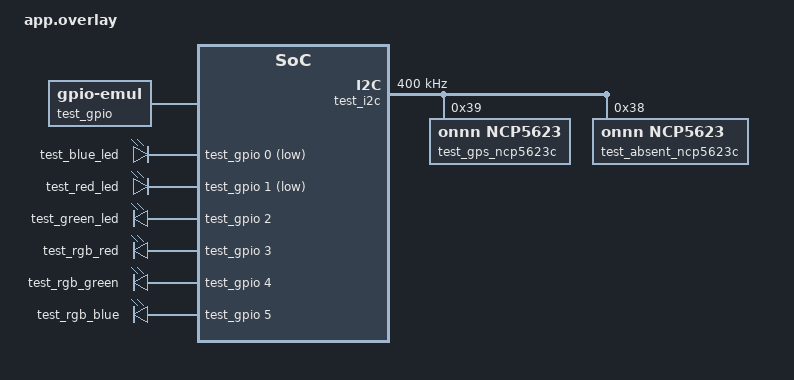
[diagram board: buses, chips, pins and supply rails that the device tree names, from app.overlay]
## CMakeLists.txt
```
############################################################################
#
#   Copyright (c) 2026 PX4 Development Team. All rights reserved.
#
# Redistribution and use in source and binary forms, with or without
# modification, are permitted provided that the following conditions
# are met:
#
# 1. Redistributions of source code must retain the above copyright
#    notice, this list of conditions and the following disclaimer.
# 2. Redistributions in binary form must reproduce the above copyright
#    notice, this list of conditions and the following disclaimer in
#    the documentation and/or other materials provided with the
#    distribution.
# 3. Neither the name PX4 nor the names of its contributors may be
#    used to endorse or promote products derived from this software
#    without specific prior written permission.
#
# THIS SOFTWARE IS PROVIDED BY THE COPYRIGHT HOLDERS AND CONTRIBUTORS
# "AS IS" AND ANY EXPRESS OR IMPLIED WARRANTIES, INCLUDING, BUT NOT
# LIMITED TO, THE IMPLIED WARRANTIES OF MERCHANTABILITY AND FITNESS
# FOR A PARTICULAR PURPOSE ARE DISCLAIMED. IN NO EVENT SHALL THE
# COPYRIGHT OWNER OR CONTRIBUTORS BE LIABLE FOR ANY DIRECT, INDIRECT,
# INCIDENTAL, SPECIAL, EXEMPLARY, OR CONSEQUENTIAL DAMAGES (INCLUDING,
# BUT NOT LIMITED TO, PROCUREMENT OF SUBSTITUTE GOODS OR SERVICES; LOSS
# OF USE, DATA, OR PROFITS; OR BUSINESS INTERRUPTION) HOWEVER CAUSED
# AND ON ANY THEORY OF LIABILITY, WHETHER IN CONTRACT, STRICT
# LIABILITY, OR TORT (INCLUDING NEGLIGENCE OR OTHERWISE) ARISING IN
# ANY WAY OUT OF THE USE OF THIS SOFTWARE, EVEN IF ADVISED OF THE
# POSSIBILITY OF SUCH DAMAGE.
#
############################################################################

cmake_minimum_required(VERSION 3.20.0)

find_package(Zephyr REQUIRED HINTS $ENV{ZEPHYR_BASE})
project(px4_leds_test)

target_sources(app PRIVATE
	src/main.cpp
	src/led_record.c
	src/ncp5623_emul.c
)
target_link_libraries(app PRIVATE px4_interface)
```

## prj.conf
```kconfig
CONFIG_ZTEST=y
CONFIG_ZTEST_STACK_SIZE=4096
CONFIG_PX4=y
CONFIG_PX4_BOARD_CONFIG="zephyr_generic_leds"
CONFIG_EMUL=y
```

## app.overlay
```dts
#include <zephyr/dt-bindings/gpio/gpio.h>
#include <zephyr/dt-bindings/led/led.h>

/ {
	test_gpio: gpio-emul {
		compatible = "zephyr,gpio-emul";
		gpio-controller;
		#gpio-cells = <2>;
	};

	gpio-leds {
		compatible = "gpio-leds";

		/* the board LEDs of the VMU RT1170, active low, but for the green one */
		test_blue_led: blue {
			gpios = <&test_gpio 0 GPIO_ACTIVE_LOW>;
		};

		test_red_led: red {
			gpios = <&test_gpio 1 GPIO_ACTIVE_LOW>;
		};

		test_green_led: green {
			gpios = <&test_gpio 2 GPIO_ACTIVE_HIGH>;
		};

		test_rgb_red: rgb-red {
			gpios = <&test_gpio 3 GPIO_ACTIVE_HIGH>;
		};

		test_rgb_green: rgb-green {
			gpios = <&test_gpio 4 GPIO_ACTIVE_HIGH>;
		};

		test_rgb_blue: rgb-blue {
			gpios = <&test_gpio 5 GPIO_ACTIVE_HIGH>;
		};
	};

	/* an RGB LED of single-color LEDs */
	test_rgb_group: rgb-led {
		compatible = "leds-group-multicolor";
		leds = <&test_rgb_red>, <&test_rgb_green>, <&test_rgb_blue>;
		color-mapping = <LED_COLOR_ID_RED>, <LED_COLOR_ID_GREEN>, <LED_COLOR_ID_BLUE>;
	};

	/* an RGB LED whose channels are in another order, with a white one */
	test_fake_leds: fake-leds {
		compatible = "zephyr,fake-leds";

		test_fake_rgb: rgb {
			color-mapping = <LED_COLOR_ID_BLUE>, <LED_COLOR_ID_RED>, <LED_COLOR_ID_GREEN>,
					<LED_COLOR_ID_WHITE>;
		};
	};

	test_i2c: i2c@b0000100 {
		compatible = "zephyr,i2c-emul-controller";
		reg = <0xb0000100 0x100>;
		clock-frequency = <400000>;
		#address-cells = <1>;
		#size-cells = <0>;

		/* the LED of a GPS module, emulated by the test */
		test_gps_ncp5623c: ncp5623c@39 {
			compatible = "onnn,ncp5623";
			reg = <0x39>;
			zephyr,deferred-init;

			test_gps_led: led_0 {
				label = "GPS LED";
				index = <0>;
				color-mapping = <LED_COLOR_ID_RED>, <LED_COLOR_ID_GREEN>, <LED_COLOR_ID_BLUE>;
			};
		};

		/* the LED of a GPS module that isn't connected */
		test_absent_ncp5623c: ncp5623c@38 {
			compatible = "onnn,ncp5623";
			reg = <0x38>;
			zephyr,deferred-init;

			test_absent_led: led_0 {
				label = "Absent LED";
				index = <0>;
				color-mapping = <LED_COLOR_ID_RED>, <LED_COLOR_ID_GREEN>, <LED_COLOR_ID_BLUE>;
			};
		};
	};

	px4-leds {
		compatible = "px4,leds";
		blue = <&test_blue_led>;
		red = <&test_red_led>;
		green = <&test_green_led>;
		rgb = <&test_fake_rgb>, <&test_rgb_group>, <&test_gps_led>, <&test_absent_led>;
	};
};
```

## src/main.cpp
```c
/****************************************************************************
 *
 *   Copyright (c) 2026 PX4 Development Team. All rights reserved.
 *
 * Redistribution and use in source and binary forms, with or without
 * modification, are permitted provided that the following conditions
 * are met:
 *
 * 1. Redistributions of source code must retain the above copyright
 *    notice, this list of conditions and the following disclaimer.
 * 2. Redistributions in binary form must reproduce the above copyright
 *    notice, this list of conditions and the following disclaimer in
 *    the documentation and/or other materials provided with the
 *    distribution.
 * 3. Neither the name PX4 nor the names of its contributors may be
 *    used to endorse or promote products derived from this software
 *    without specific prior written permission.
 *
 * THIS SOFTWARE IS PROVIDED BY THE COPYRIGHT HOLDERS AND CONTRIBUTORS
 * "AS IS" AND ANY EXPRESS OR IMPLIED WARRANTIES, INCLUDING, BUT NOT
 * LIMITED TO, THE IMPLIED WARRANTIES OF MERCHANTABILITY AND FITNESS
 * FOR A PARTICULAR PURPOSE ARE DISCLAIMED. IN NO EVENT SHALL THE
 * COPYRIGHT OWNER OR CONTRIBUTORS BE LIABLE FOR ANY DIRECT, INDIRECT,
 * INCIDENTAL, SPECIAL, EXEMPLARY, OR CONSEQUENTIAL DAMAGES (INCLUDING,
 * BUT NOT LIMITED TO, PROCUREMENT OF SUBSTITUTE GOODS OR SERVICES; LOSS
 * OF USE, DATA, OR PROFITS; OR BUSINESS INTERRUPTION) HOWEVER CAUSED
 * AND ON ANY THEORY OF LIABILITY, WHETHER IN CONTRACT, STRICT
 * LIABILITY, OR TORT (INCLUDING NEGLIGENCE OR OTHERWISE) ARISING IN
 * ANY WAY OUT OF THE USE OF THIS SOFTWARE, EVEN IF ADVISED OF THE
 * POSSIBILITY OF SUCH DAMAGE.
 *
 ****************************************************************************/


#include "led_record.h"

#include <drivers/drv_board_led.h>
#include <drivers/drv_hrt.h>
#include <parameters/param.h>
#include <px4_platform_common/posix.h>
#include <px4_platform_common/px4_config.h>
#include <px4_zephyr.h>
#include <uORB/Publication.hpp>
#include <uORB/topics/led_control.h>

#include <fcntl.h>
#include <stdio.h>
#include <string.h>

#include <zephyr/ztest.h>

#if !defined(BOARD_HAS_CONTROL_STATUS_LEDS) || (BOARD_ARMED_STATE_LED != LED_BLUE) || (BOARD_OVERLOAD_LED != LED_RED)
#error "the generic board has the armed state and overload LEDs of most flight controllers"
#endif

// the timing of the LED controller of PX4 (lib/led/led.h): the fast blinks change every 100 ms, and the breathing
// brightness every 25 ms, in 64 steps, from (0 / 32)^2 to (32 / 32)^2 and back
static constexpr uint32_t BLINK_FAST_US{100000};
static constexpr uint32_t BREATHE_INTERVAL_US{25000};
static constexpr int BREATHE_STEPS{64};

// the update interval of the driver, while no LED breathes
static constexpr uint32_t UPDATE_US{BLINK_FAST_US};

// the latency of the work queue
static constexpr uint32_t LATENCY_US{2000};

// time for the driver to start, and to show a new state
static constexpr uint32_t RESPONSE_US{2 * UPDATE_US + 50000};

static constexpr uint8_t FULL{255};

struct color {
	const char *name;
	uint8_t red;
	uint8_t green;
	uint8_t blue;
};

static uORB::Publication<led_control_s> led_control_pub{ORB_ID(led_control)};

// the board LEDs once PX4 has started, and the LED of the GPS module before the driver initializes it
static bool started_lit[3];
static bool gps_led_ready_at_boot;

static int run(const char *command)
{
	char buffer[64];
	strncpy(buffer, command, sizeof(buffer) - 1);
	buffer[sizeof(buffer) - 1] = '\0';

	char *argv[10] {};
	int argc = 0;
	char *saveptr = nullptr;

	for (char *token = strtok_r(buffer, " ", &saveptr); token != nullptr && argc < 10;
	     token = strtok_r(nullptr, " ", &saveptr)) {
		argv[argc++] = token;
	}

	return px4_zephyr_run_command(argc, argv);
}

static void *setup(void)
{
	static bool initialized = false;

	if (!initialized) {
		initialized = true;
		gps_led_ready_at_boot = test_gps_led_ready();

		// as a bootloader could leave it
		test_led_set(TEST_LED_BLUE, true);

		zassert_ok(px4_zephyr_init());

		started_lit[0] = test_led_lit(TEST_LED_BLUE);
		started_lit[1] = test_led_lit(TEST_LED_RED);
		started_lit[2] = test_led_lit(TEST_LED_GREEN);
	}

	return nullptr;
}

// the board LEDs of /dev/led0, as Commander opens it
static int fd_leds{-1};

// as in commander_helper.cpp, for the board_common.h macros
static int led_on(int led)
{
	return px4_ioctl(fd_leds, LED_ON, led);
}

static int led_off(int led)
{
	return px4_ioctl(fd_leds, LED_OFF, led);
}

static int led_toggle(int led)
{
	return px4_ioctl(fd_leds, LED_TOGGLE, led);
}

static void check_board_leds(bool blue, bool red, bool green)
{
	zassert_equal(test_led_lit(TEST_LED_BLUE), blue, "blue LED %s", blue ? "off" : "on");
	zassert_equal(test_led_lit(TEST_LED_RED), red, "red LED %s", red ? "off" : "on");
	zassert_equal(test_led_lit(TEST_LED_GREEN), green, "green LED %s", green ? "off" : "on");
}

static void board_before(void *fixture)
{
	fd_leds = px4_open(LED0_DEVICE_PATH, O_RDWR);
	zassert_true(fd_leds >= 0, "no %s", LED0_DEVICE_PATH);

	zassert_ok(led_off(LED_BLUE));
	zassert_ok(led_off(LED_RED));
	zassert_ok(led_off(LED_GREEN));
}

static void board_after(void *fixture)
{
	px4_close(fd_leds);
	fd_leds = -1;
}

ZTEST(px4_board_leds, test_start)
{
	// PX4 turns the board LEDs off when it starts
	zassert_false(started_lit[0] || started_lit[1] || started_lit[2], "board LED on");
}

ZTEST(px4_board_leds, test_on_off)
{
	zassert_ok(led_on(LED_BLUE));
	check_board_leds(true, false, false);

	// active low
	zassert_equal(test_led_level(TEST_LED_BLUE), 0);

	zassert_ok(led_off(LED_BLUE));
	check_board_leds(false, false, false);
	zassert_equal(test_led_level(TEST_LED_BLUE), 1);

	zassert_ok(led_on(LED_AMBER));
	check_board_leds(false, true, false);

	zassert_ok(led_on(LED_GREEN));
	check_board_leds(false, true, true);

	// active high
	zassert_equal(test_led_level(TEST_LED_GREEN), 1);

	zassert_ok(led_off(LED_RED));
	zassert_ok(led_off(LED_GREEN));
	check_board_leds(false, false, false);
}

ZTEST(px4_board_leds, test_toggle)
{
	zassert_ok(led_toggle(LED_GREEN));
	check_board_leds(false, false, true);

	zassert_ok(led_toggle(LED_GREEN));
	check_board_leds(false, false, false);

	zassert_ok(led_on(LED_RED));
	zassert_ok(led_toggle(LED_RED));
	check_board_leds(false, false, false);
}

ZTEST(px4_board_leds, test_missing_led)
{
	// the board has no safety LED
	zassert_ok(led_on(LED_SAFETY));
	zassert_ok(led_toggle(LED_SAFETY));
	check_board_leds(false, false, false);
}

ZTEST(px4_board_leds, test_commander)
{
	// led_init() of Commander, which leaves the green LED on
	zassert_ok(led_on(LED_GREEN));
	zassert_ok(led_on(LED_BLUE));
	zassert_ok(led_off(LED_BLUE));
	zassert_ok(led_on(LED_AMBER));
	zassert_ok(led_off(LED_AMBER));
	check_board_leds(false, false, true);

	// not ready to arm or ready to arm: the armed state LED blinks
	for (int i = 0; i < 4; i++) {
		BOARD_ARMED_STATE_LED_TOGGLE();
		check_board_leds(i % 2 == 0, false, true);
	}

	BOARD_ARMED_STATE_LED_TOGGLE();
	check_board_leds(true, false, true);

	// armed
	BOARD_ARMED_STATE_LED_OFF();
	check_board_leds(false, false, true);

	// overload
	BOARD_OVERLOAD_LED_TOGGLE();
	check_board_leds(false, true, true);

	BOARD_OVERLOAD_LED_OFF();
	check_board_leds(false, false, true);
}

ZTEST_SUITE(px4_board_leds, NULL, setup, board_before, board_after, NULL);

// as Commander publishes the system status
static void publish_status(uint8_t color, uint8_t mode)
{
	led_control_s led_control{};
	led_control.led_mask = 0xff;
	led_control.color = color;
	led_control.mode = mode;
	led_control.priority = 0;
	led_control.timestamp = hrt_absolute_time();
	led_control_pub.publish(led_control);
}

// the colors set on the fake RGB LED, too many for the stack of the test
static led_event events[LED_RECORD_MAX_EVENTS];

static size_t get_events()
{
	const size_t count = led_record_get(events, LED_RECORD_MAX_EVENTS);
	zassert_true(count <= LED_RECORD_MAX_EVENTS, "%zu events", count);
	return count;
}

static bool is_color(const led_event &event, uint8_t red, uint8_t green, uint8_t blue)
{
	return (event.red == red) && (event.green == green) && (event.blue == blue) && (event.white == 0);
}

// the 32 PWM steps of the NCP5623C
static uint8_t ncp5623_pwm(uint8_t value)
{
	return value / 8;
}

// check the color of the fake RGB LED, of the RGB LED of GPIO LEDs and of the LED of the GPS module
static void check_color(uint8_t red, uint8_t green, uint8_t blue)
{
	const size_t count = get_events();
	zassert_true(count > 0, "no color set");

	const led_event &last = events[count - 1];
	zassert_true(is_color(last, red, green, blue), "%u %u %u %u instead of %u %u %u 0",
		     last.red, last.green, last.blue, last.white, red, green, blue);

	zassert_equal(test_led_lit(TEST_LED_RGB_RED), red > 0);
	zassert_equal(test_led_lit(TEST_LED_RGB_GREEN), green > 0);
	zassert_equal(test_led_lit(TEST_LED_RGB_BLUE), blue > 0);

	zassert_equal(test_gps_led_register(NCP5623_PWM1), ncp5623_pwm(red));
	zassert_equal(test_gps_led_register(NCP5623_PWM2), ncp5623_pwm(green));
	zassert_equal(test_gps_led_register(NCP5623_PWM3), ncp5623_pwm(blue));
}

static void rgb_before(void *fixture)
{
	// the driver shows the last led_control message when it starts
	publish_status(led_control_s::COLOR_OFF, led_control_s::MODE_OFF);

	zassert_ok(run("zephyr_rgbled start"));
	k_sleep(K_USEC(RESPONSE_US));

	led_record_start();
}

static void rgb_after(void *fixture)
{
	run("zephyr_rgbled stop");
	param_reset(param_find("SYS_RGB_MAXBRT"));
}

ZTEST(px4_rgb_leds, test_start)
{
	// the driver initializes the LED of the GPS module, and leaves out the one that doesn't respond
	zassert_false(gps_led_ready_at_boot);
	zassert_true(test_gps_led_ready());
	zassert_false(test_absent_led_ready());

	// the LEDs are off, the GPS module one at its maximum current
	zassert_false(test_led_lit(TEST_LED_RGB_RED) || test_led_lit(TEST_LED_RGB_GREEN) || test_led_lit(TEST_LED_RGB_BLUE));
	zassert_equal(test_gps_led_register(NCP5623_CURRENT), 31);
	zassert_equal(test_gps_led_register(NCP5623_PWM1), 0);
	zassert_equal(test_gps_led_register(NCP5623_PWM2), 0);
	zassert_equal(test_gps_led_register(NCP5623_PWM3), 0);

	zassert_ok(run("zephyr_rgbled status"));
}

ZTEST(px4_rgb_leds, test_colors)
{
	// amber is yellow, as with the other RGB LED drivers
	static const color colors[] {
		{"red", FULL, 0, 0},
		{"green", 0, FULL, 0},
		{"blue", 0, 0, FULL},
		{"yellow", FULL, FULL, 0},
		{"amber", FULL, FULL, 0},
		{"purple", FULL, 0, FULL},
		{"cyan", 0, FULL, FULL},
		{"white", FULL, FULL, FULL},
	};

	for (const color &c : colors) {
		char command[32];
		snprintf(command, sizeof(command), "led_control on -c %s", c.name);
		zassert_ok(run(command));
		k_sleep(K_USEC(RESPONSE_US));
		check_color(c.red, c.green, c.blue);
	}

	zassert_ok(run("led_control off"));
	k_sleep(K_USEC(RESPONSE_US));
	check_color(0, 0, 0);
}

ZTEST(px4_rgb_leds, test_blink)
{
	constexpr unsigned BLINKS = 3;
	zassert_ok(run("led_control blink -c green -s fast -n 3"));
	k_sleep(K_USEC(2 * (BLINKS + 1) * BLINK_FAST_US + RESPONSE_US));

	const size_t count = get_events();
	zassert_equal(count, 2 * BLINKS, "%zu colors set", count);

	for (size_t i = 0; i < count; i++) {
		const bool on = (i % 2) == 0;
		zassert_true(is_color(events[i], 0, on ? FULL : 0, 0), "color %zu", i);

		if (i > 0) {
			// the controller changes the color at its first update after half a period
			const uint32_t interval_us = events[i].time_us - events[i - 1].time_us;
			const uint32_t min_us = BLINK_FAST_US - LATENCY_US;
			const uint32_t max_us = ((i == 1) ? 2 : 1) * BLINK_FAST_US + LATENCY_US;
			zassert_between_inclusive(interval_us, min_us, max_us, "color %zu after %u us", i, interval_us);
		}
	}

	// back to the color of the lower priority
	check_color(0, 0, 0);
}

ZTEST(px4_rgb_leds, test_breathe)
{
	constexpr uint32_t BREATHE_PERIOD_US = BREATHE_INTERVAL_US * BREATHE_STEPS;
	constexpr int MAX_STEP = BREATHE_STEPS / 2;

	zassert_ok(run("led_control breathe -c blue"));
	k_sleep(K_USEC(2 * BREATHE_PERIOD_US + RESPONSE_US));

	const size_t count = get_events();
	zassert_true(count > 2 * MAX_STEP, "%zu colors set", count);

	// the brightness of the controller, (step / 32)^2, and the times it rises above half of it
	uint8_t max_blue = 0;
	uint64_t half_times_us[3] {};
	size_t half_count = 0;

	for (size_t i = 0; i < count; i++) {
		zassert_true(is_color(events[i], 0, 0, events[i].blue), "color %zu", i);

		bool on_curve = false;

		for (int step = 0; step <= MAX_STEP; step++) {
			on_curve = on_curve || (events[i].blue == (step * step * FULL) / (MAX_STEP * MAX_STEP));
		}

		zassert_true(on_curve, "brightness %u", events[i].blue);

		if (events[i].blue > max_blue) {
			max_blue = events[i].blue;
		}

		if ((i > 0) && (events[i - 1].blue < FULL / 2) && (events[i].blue >= FULL / 2) && (half_count < 3)) {
			half_times_us[half_count++] = events[i].time_us;
		}
	}

	// the brightest step, or the one before if an update was late
	constexpr uint8_t ALMOST_FULL = ((MAX_STEP - 1) * (MAX_STEP - 1) * FULL) / (MAX_STEP * MAX_STEP);
	zassert_true(max_blue >= ALMOST_FULL, "brightest %u", max_blue);

	zassert_true(half_count >= 2, "%zu rises", half_count);
	const uint32_t period_us = half_times_us[1] - half_times_us[0];
	zassert_between_inclusive(period_us, BREATHE_PERIOD_US - BREATHE_INTERVAL_US - LATENCY_US,
				  BREATHE_PERIOD_US + BREATHE_INTERVAL_US + LATENCY_US, "period of %u us", period_us);
}

ZTEST(px4_rgb_leds, test_max_brightness)
{
	zassert_ok(run("zephyr_rgbled stop"));
	const float max_brightness = 0.5f;
	zassert_ok(param_set(param_find("SYS_RGB_MAXBRT"), &max_brightness));
	zassert_ok(run("zephyr_rgbled start"));
	k_sleep(K_USEC(RESPONSE_US));

	zassert_ok(run("led_control on -c white"));
	k_sleep(K_USEC(RESPONSE_US));
	check_color(128, 128, 128);
}

ZTEST(px4_rgb_leds, test_commander)
{
	// disarmed and ready to arm, with a global position
	publish_status(led_control_s::COLOR_GREEN, led_control_s::MODE_BREATHE);
	k_sleep(K_USEC(BREATHE_INTERVAL_US * BREATHE_STEPS));

	size_t count = get_events();
	zassert_true(count > 2);

	for (size_t i = 0; i < count; i++) {
		zassert_true(is_color(events[i], 0, events[i].green, 0), "color %zu", i);
	}

	// armed
	publish_status(led_control_s::COLOR_GREEN, led_control_s::MODE_ON);
	k_sleep(K_USEC(RESPONSE_US));
	check_color(0, FULL, 0);

	// failsafe
	publish_status(led_control_s::COLOR_PURPLE, led_control_s::MODE_ON);
	k_sleep(K_USEC(RESPONSE_US));
	check_color(FULL, 0, FULL);

	// a blink of a higher priority, after which the LED is back to the failsafe color
	led_record_start();
	zassert_ok(run("led_control blink -c yellow -s fast -n 1"));
	k_sleep(K_USEC(4 * BLINK_FAST_US + RESPONSE_US));

	count = get_events();
	zassert_equal(count, 3, "%zu colors set", count);
	zassert_true(is_color(events[0], FULL, FULL, 0));
	zassert_true(is_color(events[1], 0, 0, 0));
	check_color(FULL, 0, FULL);
}

ZTEST(px4_rgb_leds, test_stop)
{
	zassert_ok(run("led_control on -c red"));
	k_sleep(K_USEC(RESPONSE_US));
	check_color(FULL, 0, 0);

	// the LEDs are turned off right away
	const hrt_abstime stop_time = hrt_absolute_time();
	zassert_ok(run("zephyr_rgbled stop"));
	zassert_true(hrt_elapsed_time(&stop_time) < UPDATE_US / 2, "stopped in %u us",
		     (uint32_t)hrt_elapsed_time(&stop_time));
	check_color(0, 0, 0);
}

ZTEST_SUITE(px4_rgb_leds, NULL, setup, rgb_before, rgb_after, NULL);
```

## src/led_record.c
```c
/****************************************************************************
 *
 *   Copyright (c) 2026 PX4 Development Team. All rights reserved.
 *
 * Redistribution and use in source and binary forms, with or without
 * modification, are permitted provided that the following conditions
 * are met:
 *
 * 1. Redistributions of source code must retain the above copyright
 *    notice, this list of conditions and the following disclaimer.
 * 2. Redistributions in binary form must reproduce the above copyright
 *    notice, this list of conditions and the following disclaimer in
 *    the documentation and/or other materials provided with the
 *    distribution.
 * 3. Neither the name PX4 nor the names of its contributors may be
 *    used to endorse or promote products derived from this software
 *    without specific prior written permission.
 *
 * THIS SOFTWARE IS PROVIDED BY THE COPYRIGHT HOLDERS AND CONTRIBUTORS
 * "AS IS" AND ANY EXPRESS OR IMPLIED WARRANTIES, INCLUDING, BUT NOT
 * LIMITED TO, THE IMPLIED WARRANTIES OF MERCHANTABILITY AND FITNESS
 * FOR A PARTICULAR PURPOSE ARE DISCLAIMED. IN NO EVENT SHALL THE
 * COPYRIGHT OWNER OR CONTRIBUTORS BE LIABLE FOR ANY DIRECT, INDIRECT,
 * INCIDENTAL, SPECIAL, EXEMPLARY, OR CONSEQUENTIAL DAMAGES (INCLUDING,
 * BUT NOT LIMITED TO, PROCUREMENT OF SUBSTITUTE GOODS OR SERVICES; LOSS
 * OF USE, DATA, OR PROFITS; OR BUSINESS INTERRUPTION) HOWEVER CAUSED
 * AND ON ANY THEORY OF LIABILITY, WHETHER IN CONTRACT, STRICT
 * LIABILITY, OR TORT (INCLUDING NEGLIGENCE OR OTHERWISE) ARISING IN
 * ANY WAY OUT OF THE USE OF THIS SOFTWARE, EVEN IF ADVISED OF THE
 * POSSIBILITY OF SUCH DAMAGE.
 *
 ****************************************************************************/


#include "led_record.h"

#include <errno.h>
#include <string.h>

#include <zephyr/device.h>
#include <zephyr/devicetree.h>
#include <zephyr/drivers/gpio.h>
#include <zephyr/drivers/gpio/gpio_emul.h>
#include <zephyr/drivers/led.h>
#include <zephyr/drivers/led/led_fake.h>
#include <zephyr/dt-bindings/led/led.h>
#include <zephyr/fff.h>
#include <zephyr/kernel.h>
#include <zephyr/spinlock.h>

DEFINE_FFF_GLOBALS;

static const struct led_dt_spec fake_rgb = LED_DT_SPEC_GET(DT_NODELABEL(test_fake_rgb));
static const uint8_t fake_rgb_colors[] = DT_PROP(DT_NODELABEL(test_fake_rgb), color_mapping);

static const struct gpio_dt_spec gpio_leds[] = {
	[TEST_LED_BLUE] = GPIO_DT_SPEC_GET(DT_NODELABEL(test_blue_led), gpios),
	[TEST_LED_RED] = GPIO_DT_SPEC_GET(DT_NODELABEL(test_red_led), gpios),
	[TEST_LED_GREEN] = GPIO_DT_SPEC_GET(DT_NODELABEL(test_green_led), gpios),
	[TEST_LED_RGB_RED] = GPIO_DT_SPEC_GET(DT_NODELABEL(test_rgb_red), gpios),
	[TEST_LED_RGB_GREEN] = GPIO_DT_SPEC_GET(DT_NODELABEL(test_rgb_green), gpios),
	[TEST_LED_RGB_BLUE] = GPIO_DT_SPEC_GET(DT_NODELABEL(test_rgb_blue), gpios),
};

static struct k_spinlock lock;
static struct led_event events[LED_RECORD_MAX_EVENTS];
static size_t event_count;

static int record_set_color(const struct device *dev, uint32_t led, uint8_t num_colors,
			    const uint8_t *color)
{
	if ((dev != fake_rgb.dev) || (led != fake_rgb.index) ||
	    (num_colors != ARRAY_SIZE(fake_rgb_colors))) {
		return -EINVAL;
	}

	struct led_event event = {.time_us = k_ticks_to_us_floor64(k_uptime_ticks())};

	for (size_t i = 0; i < num_colors; i++) {
		switch (fake_rgb_colors[i]) {
		case LED_COLOR_ID_RED:
			event.red = color[i];
			break;

		case LED_COLOR_ID_GREEN:
			event.green = color[i];
			break;

		case LED_COLOR_ID_BLUE:
			event.blue = color[i];
			break;

		case LED_COLOR_ID_WHITE:
			event.white = color[i];
			break;
		}
	}

	K_SPINLOCK(&lock) {
		if (event_count < LED_RECORD_MAX_EVENTS) {
			events[event_count] = event;
		}

		event_count++;
	}

	return 0;
}

void led_record_start(void)
{
	K_SPINLOCK(&lock) {
		event_count = 0;
	}

	/* reset by the fake LED driver before each test */
	fake_led_set_color_fake.custom_fake = record_set_color;
}

size_t led_record_get(struct led_event *copy, size_t max_events)
{
	size_t count;

	K_SPINLOCK(&lock) {
		count = event_count;
		memcpy(copy, events, MIN(MIN(count, LED_RECORD_MAX_EVENTS), max_events) * sizeof(events[0]));
	}

	return count;
}

int test_led_level(enum test_gpio_led led)
{
	return gpio_emul_output_get(gpio_leds[led].port, gpio_leds[led].pin);
}

bool test_led_lit(enum test_gpio_led led)
{
	const bool active_low = (gpio_leds[led].dt_flags & GPIO_ACTIVE_LOW) != 0;

	return (test_led_level(led) == 1) != active_low;
}

void test_led_set(enum test_gpio_led led, bool lit)
{
	(void)gpio_pin_set_dt(&gpio_leds[led], lit ? 1 : 0);
}

bool test_gps_led_ready(void)
{
	return device_is_ready(DEVICE_DT_GET(DT_NODELABEL(test_gps_ncp5623c)));
}

bool test_absent_led_ready(void)
{
	return device_is_ready(DEVICE_DT_GET(DT_NODELABEL(test_absent_ncp5623c)));
}
```

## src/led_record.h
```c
/****************************************************************************
 *
 *   Copyright (c) 2026 PX4 Development Team. All rights reserved.
 *
 * Redistribution and use in source and binary forms, with or without
 * modification, are permitted provided that the following conditions
 * are met:
 *
 * 1. Redistributions of source code must retain the above copyright
 *    notice, this list of conditions and the following disclaimer.
 * 2. Redistributions in binary form must reproduce the above copyright
 *    notice, this list of conditions and the following disclaimer in
 *    the documentation and/or other materials provided with the
 *    distribution.
 * 3. Neither the name PX4 nor the names of its contributors may be
 *    used to endorse or promote products derived from this software
 *    without specific prior written permission.
 *
 * THIS SOFTWARE IS PROVIDED BY THE COPYRIGHT HOLDERS AND CONTRIBUTORS
 * "AS IS" AND ANY EXPRESS OR IMPLIED WARRANTIES, INCLUDING, BUT NOT
 * LIMITED TO, THE IMPLIED WARRANTIES OF MERCHANTABILITY AND FITNESS
 * FOR A PARTICULAR PURPOSE ARE DISCLAIMED. IN NO EVENT SHALL THE
 * COPYRIGHT OWNER OR CONTRIBUTORS BE LIABLE FOR ANY DIRECT, INDIRECT,
 * INCIDENTAL, SPECIAL, EXEMPLARY, OR CONSEQUENTIAL DAMAGES (INCLUDING,
 * BUT NOT LIMITED TO, PROCUREMENT OF SUBSTITUTE GOODS OR SERVICES; LOSS
 * OF USE, DATA, OR PROFITS; OR BUSINESS INTERRUPTION) HOWEVER CAUSED
 * AND ON ANY THEORY OF LIABILITY, WHETHER IN CONTRACT, STRICT
 * LIABILITY, OR TORT (INCLUDING NEGLIGENCE OR OTHERWISE) ARISING IN
 * ANY WAY OUT OF THE USE OF THIS SOFTWARE, EVEN IF ADVISED OF THE
 * POSSIBILITY OF SUCH DAMAGE.
 *
 ****************************************************************************/


#pragma once

#include <stdbool.h>
#include <stddef.h>
#include <stdint.h>

#ifdef __cplusplus
extern "C" {
#endif

#define LED_RECORD_MAX_EVENTS 256

/* a color set on the fake RGB LED */
struct led_event {
	uint64_t time_us;
	uint8_t red;
	uint8_t green;
	uint8_t blue;
	uint8_t white;
};

/* the LEDs of the gpio-leds node of the test */
enum test_gpio_led {
	TEST_LED_BLUE,
	TEST_LED_RED,
	TEST_LED_GREEN,
	TEST_LED_RGB_RED,
	TEST_LED_RGB_GREEN,
	TEST_LED_RGB_BLUE,
};

/* record the colors set on the fake RGB LED, from now on */
void led_record_start(void);

/* copy the events recorded so far, up to max_events, and return their number */
size_t led_record_get(struct led_event *events, size_t max_events);

/* the level of the GPIO pin of an LED */
int test_led_level(enum test_gpio_led led);

/* the LED is lit, from the level of its pin and its polarity */
bool test_led_lit(enum test_gpio_led led);

/* light a GPIO LED, or turn it off, through its pin */
void test_led_set(enum test_gpio_led led, bool lit);

/* the NCP5623C of the GPS module is ready */
bool test_gps_led_ready(void);

/* the NCP5623C that doesn't respond is ready */
bool test_absent_led_ready(void);

/* the registers of the NCP5623C */
#define NCP5623_CURRENT 1
#define NCP5623_PWM1 2
#define NCP5623_PWM2 3
#define NCP5623_PWM3 4

/* the value of a register of the NCP5623C of the GPS module, from 0 to 31 */
uint8_t test_gps_led_register(unsigned reg);

#ifdef __cplusplus
}
#endif
```

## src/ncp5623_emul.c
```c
/****************************************************************************
 *
 *   Copyright (c) 2026 PX4 Development Team. All rights reserved.
 *
 * Redistribution and use in source and binary forms, with or without
 * modification, are permitted provided that the following conditions
 * are met:
 *
 * 1. Redistributions of source code must retain the above copyright
 *    notice, this list of conditions and the following disclaimer.
 * 2. Redistributions in binary form must reproduce the above copyright
 *    notice, this list of conditions and the following disclaimer in
 *    the documentation and/or other materials provided with the
 *    distribution.
 * 3. Neither the name PX4 nor the names of its contributors may be
 *    used to endorse or promote products derived from this software
 *    without specific prior written permission.
 *
 * THIS SOFTWARE IS PROVIDED BY THE COPYRIGHT HOLDERS AND CONTRIBUTORS
 * "AS IS" AND ANY EXPRESS OR IMPLIED WARRANTIES, INCLUDING, BUT NOT
 * LIMITED TO, THE IMPLIED WARRANTIES OF MERCHANTABILITY AND FITNESS
 * FOR A PARTICULAR PURPOSE ARE DISCLAIMED. IN NO EVENT SHALL THE
 * COPYRIGHT OWNER OR CONTRIBUTORS BE LIABLE FOR ANY DIRECT, INDIRECT,
 * INCIDENTAL, SPECIAL, EXEMPLARY, OR CONSEQUENTIAL DAMAGES (INCLUDING,
 * BUT NOT LIMITED TO, PROCUREMENT OF SUBSTITUTE GOODS OR SERVICES; LOSS
 * OF USE, DATA, OR PROFITS; OR BUSINESS INTERRUPTION) HOWEVER CAUSED
 * AND ON ANY THEORY OF LIABILITY, WHETHER IN CONTRACT, STRICT
 * LIABILITY, OR TORT (INCLUDING NEGLIGENCE OR OTHERWISE) ARISING IN
 * ANY WAY OUT OF THE USE OF THIS SOFTWARE, EVEN IF ADVISED OF THE
 * POSSIBILITY OF SUCH DAMAGE.
 *
 ****************************************************************************/


/*
 * Emulator of the NCP5623C of a GPS module. Each command is a byte, followed by a byte that the chip
 * ignores, as the Zephyr, NuttX and Linux drivers write them: its bits 7..5 select a register, and bits
 * 4..0 are its value.
 */

#include "led_record.h"

#include <errno.h>

#include <zephyr/device.h>
#include <zephyr/devicetree.h>
#include <zephyr/drivers/emul.h>
#include <zephyr/drivers/i2c.h>
#include <zephyr/drivers/i2c_emul.h>
#include <zephyr/kernel.h>
#include <zephyr/spinlock.h>

#define REGISTER_SHIFT 5
#define VALUE_MASK 0x1f
#define REGISTER_COUNT 8

static struct k_spinlock lock;
static uint8_t registers[REGISTER_COUNT];

static int ncp5623_emul_transfer(const struct emul *target, struct i2c_msg *msgs, int num_msgs, int addr)
{
	size_t position = 0;

	for (int i = 0; i < num_msgs; i++) {
		/* the NCP5623C can't be read */
		if ((msgs[i].flags & I2C_MSG_READ) != 0) {
			return -EIO;
		}

		for (uint32_t j = 0; j < msgs[i].len; j++, position++) {
			if ((position % 2) == 0) {
				K_SPINLOCK(&lock) {
					registers[msgs[i].buf[j] >> REGISTER_SHIFT] = msgs[i].buf[j] & VALUE_MASK;
				}
			}
		}
	}

	return 0;
}

uint8_t test_gps_led_register(unsigned reg)
{
	uint8_t value;

	K_SPINLOCK(&lock) {
		value = registers[reg];
	}

	return value;
}

static const struct i2c_emul_api ncp5623_emul_api = {
	.transfer = ncp5623_emul_transfer,
};

static int ncp5623_emul_init(const struct emul *target, const struct device *parent)
{
	return 0;
}

EMUL_DT_DEFINE(DT_NODELABEL(test_gps_ncp5623c), ncp5623_emul_init, NULL, NULL, &ncp5623_emul_api, NULL);
```
